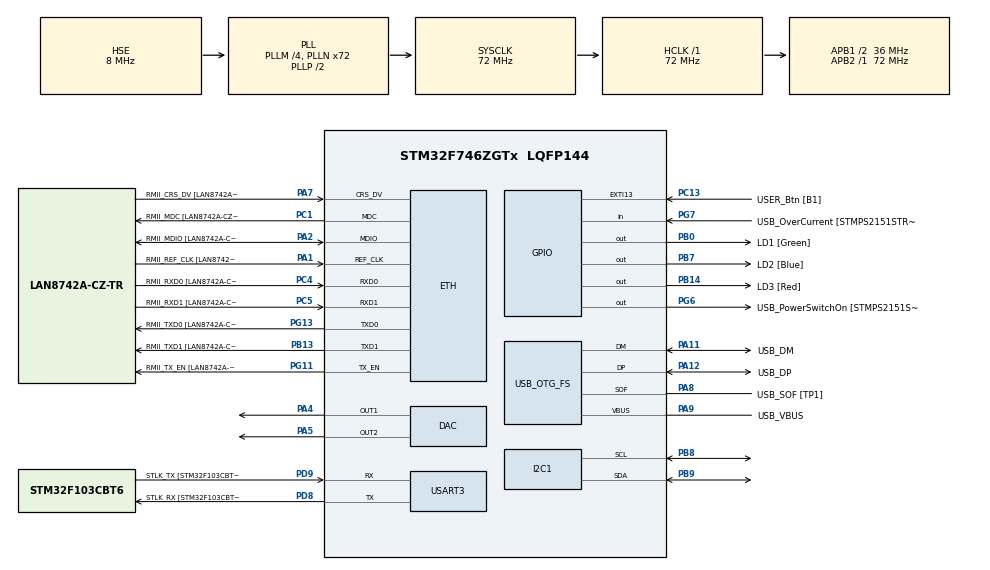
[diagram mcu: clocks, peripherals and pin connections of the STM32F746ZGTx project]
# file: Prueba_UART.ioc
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DAC.DAC_Trigger=DAC_TRIGGER_T2_TRGO
DAC.DAC_Trigger2=DAC_TRIGGER_T2_TRGO
Dma.DAC1.0.Direction=DMA_MEMORY_TO_PERIPH
Dma.DAC1.0.FIFOMode=DMA_FIFOMODE_DISABLE
Dma.DAC1.0.Instance=DMA1_Stream5
Dma.DAC1.0.MemDataAlignment=DMA_MDATAALIGN_WORD
Dma.DAC1.0.MemInc=DMA_MINC_ENABLE
Dma.DAC1.0.Mode=DMA_CIRCULAR
Dma.DAC1.0.PeriphDataAlignment=DMA_PDATAALIGN_WORD
Dma.DAC1.0.PeriphInc=DMA_PINC_DISABLE
Dma.DAC1.0.Priority=DMA_PRIORITY_LOW
Dma.DAC2.1.Direction=DMA_MEMORY_TO_PERIPH
Dma.DAC2.1.FIFOMode=DMA_FIFOMODE_DISABLE
Dma.DAC2.1.Instance=DMA1_Stream6
Dma.DAC2.1.MemDataAlignment=DMA_MDATAALIGN_WORD
Dma.DAC2.1.MemInc=DMA_MINC_ENABLE
Dma.DAC2.1.Mode=DMA_CIRCULAR
Dma.DAC2.1.PeriphDataAlignment=DMA_PDATAALIGN_WORD
Dma.DAC2.1.PeriphInc=DMA_PINC_DISABLE
Dma.DAC2.1.Priority=DMA_PRIORITY_LOW
Dma.Request0=DAC1
Dma.Request1=DAC2
Dma.Request2=USART3_RX
Dma.Request3=USART3_TX
Dma.USART3_RX.2.Direction=DMA_PERIPH_TO_MEMORY
Dma.USART3_RX.2.FIFOMode=DMA_FIFOMODE_DISABLE
Dma.USART3_RX.2.Instance=DMA1_Stream1
Dma.USART3_RX.2.MemDataAlignment=DMA_MDATAALIGN_BYTE
Dma.USART3_RX.2.MemInc=DMA_MINC_ENABLE
Dma.USART3_RX.2.Mode=DMA_NORMAL
Dma.USART3_RX.2.PeriphDataAlignment=DMA_PDATAALIGN_BYTE
Dma.USART3_RX.2.PeriphInc=DMA_PINC_DISABLE
Dma.USART3_RX.2.Priority=DMA_PRIORITY_LOW
Dma.USART3_TX.3.Direction=DMA_MEMORY_TO_PERIPH
Dma.USART3_TX.3.FIFOMode=DMA_FIFOMODE_DISABLE
Dma.USART3_TX.3.Instance=DMA1_Stream3
Dma.USART3_TX.3.MemDataAlignment=DMA_MDATAALIGN_BYTE
Dma.USART3_TX.3.MemInc=DMA_MINC_ENABLE
Dma.USART3_TX.3.Mode=DMA_NORMAL
Dma.USART3_TX.3.PeriphDataAlignment=DMA_PDATAALIGN_BYTE
Dma.USART3_TX.3.PeriphInc=DMA_PINC_DISABLE
Dma.USART3_TX.3.Priority=DMA_PRIORITY_LOW
ETH.MediaInterface=HAL_ETH_RMII_MODE
ETH.PHY_Name=LAN8742A_PHY_ADDRESS
ETH.PHY_Value=0
ETH.PhyAddress=0
I2C1.Timing=0x00808CD2
Mcu.Family=STM32F7
Mcu.Name=STM32F746ZGTx
Mcu.Package=LQFP144
NVIC.DMA1_Stream1_IRQn=true\:0\:0\:false\:false\:true\:false\:true\:true
NVIC.DMA1_Stream3_IRQn=true\:0\:0\:false\:false\:true\:false\:true\:true
NVIC.DMA1_Stream5_IRQn=true\:0\:0\:false\:false\:true\:false\:true\:true
NVIC.DMA1_Stream6_IRQn=true\:0\:0\:false\:false\:true\:false\:true\:true
NVIC.PriorityGroup=NVIC_PRIORITYGROUP_4
NVIC.USART3_IRQn=true\:0\:0\:false\:false\:true\:true\:true\:true
PA1.GPIO_Label=RMII_REF_CLK [LAN8742A-CZ-TR_REFCLK0]
PA1.Mode=RMII
PA1.Signal=ETH_REF_CLK
PA10.GPIO_Label=USB_ID
PA10.Signal=USB_OTG_FS_ID
PA11.GPIO_Label=USB_DM
PA11.Mode=Device_Only
PA11.Signal=USB_OTG_FS_DM
PA12.GPIO_Label=USB_DP
PA12.Mode=Device_Only
PA12.Signal=USB_OTG_FS_DP
PA13.GPIO_Label=TMS
PA13.Mode=Serial_Wire
PA13.Signal=SYS_JTMS-SWDIO
PA14.GPIO_Label=TCK
PA14.Mode=Serial_Wire
PA14.Signal=SYS_JTCK-SWCLK
PA2.GPIO_Label=RMII_MDIO [LAN8742A-CZ-TR_MDIO]
PA2.Mode=RMII
PA2.Signal=ETH_MDIO
PA4.Signal=COMP_DAC1_group
PA5.Signal=COMP_DAC2_group
PA7.GPIO_Label=RMII_CRS_DV [LAN8742A-CZ-TR_CRS_DV]
PA7.Mode=RMII
PA7.Signal=ETH_CRS_DV
PA8.GPIO_Label=USB_SOF [TP1]
PA8.Mode=Activate_SOF_FS
PA8.Signal=USB_OTG_FS_SOF
PA9.GPIO_Label=USB_VBUS
PA9.Mode=Activate_VBUS
PA9.Signal=USB_OTG_FS_VBUS
PB0.GPIO_Label=LD1 [Green]
PB0.Signal=GPIO_Output
PB13.GPIO_Label=RMII_TXD1 [LAN8742A-CZ-TR_TXD1]
PB13.Mode=RMII
PB13.Signal=ETH_TXD1
PB14.GPIO_Label=LD3 [Red]
PB14.Signal=GPIO_Output
PB3.GPIO_Label=SW0
PB3.Signal=SYS_JTDO-SWO
PB7.GPIO_Label=LD2 [Blue]
PB7.Signal=GPIO_Output
PB8.Mode=I2C
PB8.Signal=I2C1_SCL
PB9.Mode=I2C
PB9.Signal=I2C1_SDA
PC1.GPIO_Label=RMII_MDC [LAN8742A-CZ-TR_MDC]
PC1.Mode=RMII
PC1.Signal=ETH_MDC
PC13.GPIO_Label=USER_Btn [B1]
PC13.Signal=GPXTI13
PC14/OSC32_IN.Mode=LSE-External-Oscillator
PC14/OSC32_IN.Signal=RCC_OSC32_IN
PC15/OSC32_OUT.Mode=LSE-External-Oscillator
PC15/OSC32_OUT.Signal=RCC_OSC32_OUT
PC4.GPIO_Label=RMII_RXD0 [LAN8742A-CZ-TR_RXD0]
PC4.Mode=RMII
PC4.Signal=ETH_RXD0
PC5.GPIO_Label=RMII_RXD1 [LAN8742A-CZ-TR_RXD1]
PC5.Mode=RMII
PC5.Signal=ETH_RXD1
PD8.GPIO_Label=STLK_RX [STM32F103CBT6_PA3]
PD8.GPIO_PuPd=GPIO_PULLUP
PD8.Mode=Asynchronous
PD8.Signal=USART3_TX
PD9.GPIO_Label=STLK_TX [STM32F103CBT6_PA2]
PD9.GPIO_PuPd=GPIO_PULLUP
PD9.Mode=Asynchronous
PD9.Signal=USART3_RX
PG11.GPIO_Label=RMII_TX_EN [LAN8742A-CZ-TR_TXEN]
PG11.Mode=RMII
PG11.Signal=ETH_TX_EN
PG13.GPIO_Label=RMII_TXD0 [LAN8742A-CZ-TR_TXD0]
PG13.Mode=RMII
PG13.Signal=ETH_TXD0
PG6.GPIO_Label=USB_PowerSwitchOn [STMPS2151STR_EN]
PG6.Signal=GPIO_Output
PG7.GPIO_Label=USB_OverCurrent [STMPS2151STR_FAULT]
PG7.Signal=GPIO_Input
PH0/OSC_IN.GPIO_Label=MCO [STM32F103CBT6_PA8]
PH0/OSC_IN.Mode=HSE-External-Clock-Source
PH0/OSC_IN.Signal=RCC_OSC_IN
PH1/OSC_OUT.Mode=HSE-External-Clock-Source
PH1/OSC_OUT.Signal=RCC_OSC_OUT
ProjectManager.HeapSize=0x200
ProjectManager.StackSize=0x400
ProjectManager.TargetToolchain=STM32CubeIDE
RCC.48MHZClocksFreq_Value=24000000
RCC.AHBFreq_Value=72000000
RCC.APB1CLKDivider=RCC_HCLK_DIV2
RCC.APB1Freq_Value=36000000
RCC.APB1TimFreq_Value=72000000
RCC.APB2Freq_Value=72000000
RCC.APB2TimFreq_Value=72000000
RCC.CortexFreq_Value=72000000
RCC.HCLKFreq_Value=72000000
RCC.HSE_VALUE=8000000
RCC.HSI_VALUE=16000000
RCC.PLLM=4
RCC.PLLMUL=RCC_PLL_MUL9
RCC.PLLN=72
RCC.PLLQ=3
RCC.PRESCALERUSB=RCC_USBCLKSOURCE_PLL_DIV1_5
RCC.SYSCLKFreq_VALUE=72000000
RCC.SYSCLKSource=RCC_SYSCLKSOURCE_PLLCLK
RCC.SYSCLKSourceVirtual=RCC_SYSCLKSOURCE_PLLCLK
RCC.USBFreq_Value=48000000
RCC.VCOOutputFreq_Value=144000000
SH.COMP_DAC1_group.0=DAC_OUT1,DAC_OUT1
SH.COMP_DAC2_group.0=DAC_OUT2,DAC_OUT2
TIM2.Period=100
TIM2.Prescaler=72-1
TIM2.TIM_MasterOutputTrigger=TIM_TRGO_UPDATE
USART3.VirtualMode-Asynchronous=VM_ASYNC
USB_OTG_FS.VirtualMode=Device_Only
VP_TIM2_VS_ClockSourceINT.Mode=Internal
board=NUCLEO-F746ZG

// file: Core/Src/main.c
/* USER CODE BEGIN Header */
/**
  ******************************************************************************
  * @file           : main.c
  * @brief          : Main program body
  ******************************************************************************
  * @attention
  *
  * Copyright (c) 2025 STMicroelectronics.
  * All rights reserved.
  *
  * This software is licensed under terms that can be found in the LICENSE file
  * in the root directory of this software component.
  * If no LICENSE file comes with this software, it is provided AS-IS.
  *
  ******************************************************************************
  */
/* USER CODE END Header */
#include "main.h"
#include "string.h"
#include "math.h"
#include "stdio.h"   // Necesario para sprintf

#if defined ( __ICCARM__ ) /*!< IAR Compiler */
#pragma location=0x2004c000
ETH_DMADescTypeDef  DMARxDscrTab[ETH_RX_DESC_CNT]; /* Ethernet Rx DMA Descriptors */
#pragma location=0x2004c0a0
ETH_DMADescTypeDef  DMATxDscrTab[ETH_TX_DESC_CNT]; /* Ethernet Tx DMA Descriptors */

#elif defined ( __CC_ARM )  /* MDK ARM Compiler */

__attribute__((at(0x2004c000))) ETH_DMADescTypeDef  DMARxDscrTab[ETH_RX_DESC_CNT]; /* Ethernet Rx DMA Descriptors */
__attribute__((at(0x2004c0a0))) ETH_DMADescTypeDef  DMATxDscrTab[ETH_TX_DESC_CNT]; /* Ethernet Tx DMA Descriptors */

#elif defined ( __GNUC__ ) /* GNU Compiler */

ETH_DMADescTypeDef DMARxDscrTab[ETH_RX_DESC_CNT] __attribute__((section(".RxDecripSection"))); /* Ethernet Rx DMA Descriptors */
ETH_DMADescTypeDef DMATxDscrTab[ETH_TX_DESC_CNT] __attribute__((section(".TxDecripSection")));   /* Ethernet Tx DMA Descriptors */
#endif

ETH_TxPacketConfig TxConfig;

DAC_HandleTypeDef hdac;
DMA_HandleTypeDef hdma_dac1;
DMA_HandleTypeDef hdma_dac2;

ETH_HandleTypeDef heth;

I2C_HandleTypeDef hi2c1;

TIM_HandleTypeDef htim2;

UART_HandleTypeDef huart3;
DMA_HandleTypeDef hdma_usart3_rx;
DMA_HandleTypeDef hdma_usart3_tx;

PCD_HandleTypeDef hpcd_USB_OTG_FS;

/* USER CODE BEGIN PV */
uint32_t sine_val[100];     // Para DAC1
uint32_t sine2_val[100];    // Para DAC2
#define PI 3.1415926
/* USER CODE END PV */

void SystemClock_Config(void);
static void MX_GPIO_Init(void);
static void MX_DMA_Init(void);
static void MX_ETH_Init(void);
static void MX_I2C1_Init(void);
static void MX_USART3_UART_Init(void);
static void MX_USB_OTG_FS_PCD_Init(void);
static void MX_DAC_Init(void);
static void MX_TIM2_Init(void);

/* USER CODE BEGIN 0 */
/**
  * @brief Calcula los 100 puntos de la onda senoidal para cada DAC.
  */
void calcsin(){
    for (int i = 0; i < 100; i++){
        sine_val[i]  = (uint32_t)((sin(i * 2 * PI / 100) + 1) * (4096 / 2));  // Onda base para DAC1
        sine2_val[i] = (uint32_t)((sin(i * 4 * PI / 100) + 1) * (4096 / 2));  // Doble frecuencia para DAC2
    }
}
/* USER CODE END 0 */

int main(void)
{

  /* MCU Configuration--------------------------------------------------------*/

  /* Reset of all peripherals, Initializes the Flash interface and the Systick. */
  HAL_Init();

  /* Configure the system clock */
  SystemClock_Config();

  /* Initialize all configured peripherals */
  MX_GPIO_Init();
  MX_DMA_Init();
  MX_ETH_Init();
  MX_I2C1_Init();
  MX_USART3_UART_Init();
  MX_USB_OTG_FS_PCD_Init();
  MX_DAC_Init();
  MX_TIM2_Init();

  /* USER CODE BEGIN 2 */
  HAL_TIM_Base_Start(&htim2);
  calcsin();

  /* Inicia la transmisión de la onda senoidal por DMA en ambos DAC */
  HAL_DAC_Start_DMA(&hdac, DAC_CHANNEL_1, sine_val, 100, DAC_ALIGN_12B_R);
  HAL_DAC_Start_DMA(&hdac, DAC_CHANNEL_2, sine2_val, 100, DAC_ALIGN_12B_R);
  /* USER CODE END 2 */

  /* Infinite loop */
  /* USER CODE BEGIN WHILE */
  while (1)
  {
      // Transmite los 100 puntos de la onda senoidal por UART
      for (int i = 0; i < 100; i++){
          char uart_buffer[50];
          sprintf(uart_buffer, "DAC1: %lu, DAC2: %lu\r\n", sine_val[i], sine2_val[i]);
          HAL_UART_Transmit(&huart3, (uint8_t*)uart_buffer, strlen(uart_buffer), 1000);
          HAL_Delay(50);  // Retardo entre muestras (ajustar según sea necesario)
      }
      HAL_Delay(1000);  // Retardo antes de repetir la secuencia
    /* USER CODE END WHILE */

  }
}

void SystemClock_Config(void)
{
  RCC_OscInitTypeDef RCC_OscInitStruct = {0};
  RCC_ClkInitTypeDef RCC_ClkInitStruct = {0};

  /** Configure LSE Drive Capability
  */
  HAL_PWR_EnableBkUpAccess();

  /** Configure the main internal regulator output voltage
  */
  __HAL_RCC_PWR_CLK_ENABLE();
  __HAL_PWR_VOLTAGESCALING_CONFIG(PWR_REGULATOR_VOLTAGE_SCALE3);

  /** Initializes the RCC Oscillators according to the specified parameters
  * in the RCC_OscInitTypeDef structure.
  */
  RCC_OscInitStruct.OscillatorType = RCC_OSCILLATORTYPE_HSE;
  RCC_OscInitStruct.HSEState = RCC_HSE_BYPASS;
  RCC_OscInitStruct.PLL.PLLState = RCC_PLL_ON;
  RCC_OscInitStruct.PLL.PLLSource = RCC_PLLSOURCE_HSE;
  RCC_OscInitStruct.PLL.PLLM = 4;
  RCC_OscInitStruct.PLL.PLLN = 72;
  RCC_OscInitStruct.PLL.PLLP = RCC_PLLP_DIV2;
  RCC_OscInitStruct.PLL.PLLQ = 3;
  if (HAL_RCC_OscConfig(&RCC_OscInitStruct) != HAL_OK)
  {
    Error_Handler();
  }

  /** Initializes the CPU, AHB and APB buses clocks
  */
  RCC_ClkInitStruct.ClockType = RCC_CLOCKTYPE_HCLK|RCC_CLOCKTYPE_SYSCLK
                              |RCC_CLOCKTYPE_PCLK1|RCC_CLOCKTYPE_PCLK2;
  RCC_ClkInitStruct.SYSCLKSource = RCC_SYSCLKSOURCE_PLLCLK;
  RCC_ClkInitStruct.AHBCLKDivider = RCC_SYSCLK_DIV1;
  RCC_ClkInitStruct.APB1CLKDivider = RCC_HCLK_DIV2;
  RCC_ClkInitStruct.APB2CLKDivider = RCC_HCLK_DIV1;

  if (HAL_RCC_ClockConfig(&RCC_ClkInitStruct, FLASH_LATENCY_2) != HAL_OK)
  {
    Error_Handler();
  }
}

static void MX_DAC_Init(void)
{

  DAC_ChannelConfTypeDef sConfig = {0};

  /** DAC Initialization
  */
  hdac.Instance = DAC;
  if (HAL_DAC_Init(&hdac) != HAL_OK)
  {
    Error_Handler();
  }

  /** DAC channel OUT1 config
  */
  sConfig.DAC_Trigger = DAC_TRIGGER_T2_TRGO;
  sConfig.DAC_OutputBuffer = DAC_OUTPUTBUFFER_ENABLE;
  if (HAL_DAC_ConfigChannel(&hdac, &sConfig, DAC_CHANNEL_1) != HAL_OK)
  {
    Error_Handler();
  }

  /** DAC channel OUT2 config
  */
  if (HAL_DAC_ConfigChannel(&hdac, &sConfig, DAC_CHANNEL_2) != HAL_OK)
  {
    Error_Handler();
  }

}

static void MX_ETH_Init(void)
{

   static uint8_t MACAddr[6];

  heth.Instance = ETH;
  MACAddr[0] = 0x00;
  MACAddr[1] = 0x80;
  MACAddr[2] = 0xE1;
  MACAddr[3] = 0x00;
  MACAddr[4] = 0x00;
  MACAddr[5] = 0x00;
  heth.Init.MACAddr = &MACAddr[0];
  heth.Init.MediaInterface = HAL_ETH_RMII_MODE;
  heth.Init.TxDesc = DMATxDscrTab;
  heth.Init.RxDesc = DMARxDscrTab;
  heth.Init.RxBuffLen = 1524;

  if (HAL_ETH_Init(&heth) != HAL_OK)
  {
    Error_Handler();
  }

  memset(&TxConfig, 0 , sizeof(ETH_TxPacketConfig));
  TxConfig.Attributes = ETH_TX_PACKETS_FEATURES_CSUM | ETH_TX_PACKETS_FEATURES_CRCPAD;
  TxConfig.ChecksumCtrl = ETH_CHECKSUM_IPHDR_PAYLOAD_INSERT_PHDR_CALC;
  TxConfig.CRCPadCtrl = ETH_CRC_PAD_INSERT;

}

static void MX_I2C1_Init(void)
{

  hi2c1.Instance = I2C1;
  hi2c1.Init.Timing = 0x00808CD2;
  hi2c1.Init.OwnAddress1 = 0;
  hi2c1.Init.AddressingMode = I2C_ADDRESSINGMODE_7BIT;
  hi2c1.Init.DualAddressMode = I2C_DUALADDRESS_DISABLE;
  hi2c1.Init.OwnAddress2 = 0;
  hi2c1.Init.OwnAddress2Masks = I2C_OA2_NOMASK;
  hi2c1.Init.GeneralCallMode = I2C_GENERALCALL_DISABLE;
  hi2c1.Init.NoStretchMode = I2C_NOSTRETCH_DISABLE;
  if (HAL_I2C_Init(&hi2c1) != HAL_OK)
  {
    Error_Handler();
  }

  /** Configure Analogue filter
  */
  if (HAL_I2CEx_ConfigAnalogFilter(&hi2c1, I2C_ANALOGFILTER_ENABLE) != HAL_OK)
  {
    Error_Handler();
  }

  /** Configure Digital filter
  */
  if (HAL_I2CEx_ConfigDigitalFilter(&hi2c1, 0) != HAL_OK)
  {
    Error_Handler();
  }

}

static void MX_TIM2_Init(void)
{

  TIM_ClockConfigTypeDef sClockSourceConfig = {0};
  TIM_MasterConfigTypeDef sMasterConfig = {0};

  htim2.Instance = TIM2;
  htim2.Init.Prescaler = 72-1;
  htim2.Init.CounterMode = TIM_COUNTERMODE_UP;
  htim2.Init.Period = 100;
  htim2.Init.ClockDivision = TIM_CLOCKDIVISION_DIV1;
  htim2.Init.AutoReloadPreload = TIM_AUTORELOAD_PRELOAD_DISABLE;
  if (HAL_TIM_Base_Init(&htim2) != HAL_OK)
  {
    Error_Handler();
  }
  sClockSourceConfig.ClockSource = TIM_CLOCKSOURCE_INTERNAL;
  if (HAL_TIM_ConfigClockSource(&htim2, &sClockSourceConfig) != HAL_OK)
  {
    Error_Handler();
  }
  sMasterConfig.MasterOutputTrigger = TIM_TRGO_UPDATE;
  sMasterConfig.MasterSlaveMode = TIM_MASTERSLAVEMODE_DISABLE;
  if (HAL_TIMEx_MasterConfigSynchronization(&htim2, &sMasterConfig) != HAL_OK)
  {
    Error_Handler();
  }

}

static void MX_USART3_UART_Init(void)
{

  huart3.Instance = USART3;
  huart3.Init.BaudRate = 115200;
  huart3.Init.WordLength = UART_WORDLENGTH_8B;
  huart3.Init.StopBits = UART_STOPBITS_1;
  huart3.Init.Parity = UART_PARITY_NONE;
  huart3.Init.Mode = UART_MODE_TX_RX;
  huart3.Init.HwFlowCtl = UART_HWCONTROL_NONE;
  huart3.Init.OverSampling = UART_OVERSAMPLING_16;
  huart3.Init.OneBitSampling = UART_ONE_BIT_SAMPLE_DISABLE;
  huart3.AdvancedInit.AdvFeatureInit = UART_ADVFEATURE_NO_INIT;
  if (HAL_UART_Init(&huart3) != HAL_OK)
  {
    Error_Handler();
  }

}

static void MX_USB_OTG_FS_PCD_Init(void)
{

  hpcd_USB_OTG_FS.Instance = USB_OTG_FS;
  hpcd_USB_OTG_FS.Init.dev_endpoints = 6;
  hpcd_USB_OTG_FS.Init.speed = PCD_SPEED_FULL;
  hpcd_USB_OTG_FS.Init.dma_enable = DISABLE;
  hpcd_USB_OTG_FS.Init.phy_itface = PCD_PHY_EMBEDDED;
  hpcd_USB_OTG_FS.Init.Sof_enable = ENABLE;
  hpcd_USB_OTG_FS.Init.low_power_enable = DISABLE;
  hpcd_USB_OTG_FS.Init.lpm_enable = DISABLE;
  hpcd_USB_OTG_FS.Init.vbus_sensing_enable = ENABLE;
  hpcd_USB_OTG_FS.Init.use_dedicated_ep1 = DISABLE;
  if (HAL_PCD_Init(&hpcd_USB_OTG_FS) != HAL_OK)
  {
    Error_Handler();
  }

}

static void MX_DMA_Init(void)
{

  /* DMA controller clock enable */
  __HAL_RCC_DMA1_CLK_ENABLE();

  /* DMA interrupt init */
  /* DMA1_Stream1_IRQn interrupt configuration */
  HAL_NVIC_SetPriority(DMA1_Stream1_IRQn, 0, 0);
  HAL_NVIC_EnableIRQ(DMA1_Stream1_IRQn);
  /* DMA1_Stream3_IRQn interrupt configuration */
  HAL_NVIC_SetPriority(DMA1_Stream3_IRQn, 0, 0);
  HAL_NVIC_EnableIRQ(DMA1_Stream3_IRQn);
  /* DMA1_Stream5_IRQn interrupt configuration */
  HAL_NVIC_SetPriority(DMA1_Stream5_IRQn, 0, 0);
  HAL_NVIC_EnableIRQ(DMA1_Stream5_IRQn);
  /* DMA1_Stream6_IRQn interrupt configuration */
  HAL_NVIC_SetPriority(DMA1_Stream6_IRQn, 0, 0);
  HAL_NVIC_EnableIRQ(DMA1_Stream6_IRQn);

}

static void MX_GPIO_Init(void)
{
  GPIO_InitTypeDef GPIO_InitStruct = {0};

  /* GPIO Ports Clock Enable */
  __HAL_RCC_GPIOC_CLK_ENABLE();
  __HAL_RCC_GPIOH_CLK_ENABLE();
  __HAL_RCC_GPIOA_CLK_ENABLE();
  __HAL_RCC_GPIOB_CLK_ENABLE();
  __HAL_RCC_GPIOD_CLK_ENABLE();
  __HAL_RCC_GPIOG_CLK_ENABLE();

  /*Configure GPIO pin Output Level */
  HAL_GPIO_WritePin(GPIOB, LD1_Pin|LD3_Pin|LD2_Pin, GPIO_PIN_RESET);

  /*Configure GPIO pin Output Level */
  HAL_GPIO_WritePin(USB_PowerSwitchOn_GPIO_Port, USB_PowerSwitchOn_Pin, GPIO_PIN_RESET);

  /*Configure GPIO pin : USER_Btn_Pin */
  GPIO_InitStruct.Pin = USER_Btn_Pin;
  GPIO_InitStruct.Mode = GPIO_MODE_IT_RISING;
  GPIO_InitStruct.Pull = GPIO_NOPULL;
  HAL_GPIO_Init(USER_Btn_GPIO_Port, &GPIO_InitStruct);

  /*Configure GPIO pins : LD1_Pin LD3_Pin LD2_Pin */
  GPIO_InitStruct.Pin = LD1_Pin|LD3_Pin|LD2_Pin;
  GPIO_InitStruct.Mode = GPIO_MODE_OUTPUT_PP;
  GPIO_InitStruct.Pull = GPIO_NOPULL;
  GPIO_InitStruct.Speed = GPIO_SPEED_FREQ_LOW;
  HAL_GPIO_Init(GPIOB, &GPIO_InitStruct);

  /*Configure GPIO pin : USB_PowerSwitchOn_Pin */
  GPIO_InitStruct.Pin = USB_PowerSwitchOn_Pin;
  GPIO_InitStruct.Mode = GPIO_MODE_OUTPUT_PP;
  GPIO_InitStruct.Pull = GPIO_NOPULL;
  GPIO_InitStruct.Speed = GPIO_SPEED_FREQ_LOW;
  HAL_GPIO_Init(USB_PowerSwitchOn_GPIO_Port, &GPIO_InitStruct);

  /*Configure GPIO pin : USB_OverCurrent_Pin */
  GPIO_InitStruct.Pin = USB_OverCurrent_Pin;
  GPIO_InitStruct.Mode = GPIO_MODE_INPUT;
  GPIO_InitStruct.Pull = GPIO_NOPULL;
  HAL_GPIO_Init(USB_OverCurrent_GPIO_Port, &GPIO_InitStruct);

}

void Error_Handler(void)
{
  __disable_irq();
  while (1)
  {
  }
}
